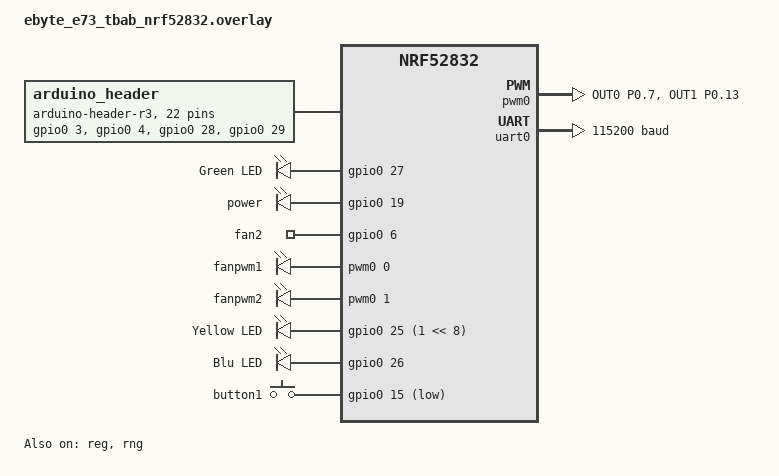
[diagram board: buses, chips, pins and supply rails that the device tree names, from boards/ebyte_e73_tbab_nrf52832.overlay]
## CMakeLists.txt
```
#
# Copyright (c) 2018 Nordic Semiconductor
#
# SPDX-License-Identifier: LicenseRef-Nordic-5-Clause
#
cmake_minimum_required(VERSION 3.20.0)

set(BOOT_SIGNATURE_KEY_FILE
    ${CMAKE_CURRENT_SOURCE_DIR}/fan_private_2048.pem
)

if(DEFINED BOOT_SIGNATURE_KEY_FILE)
    set(mcuboot_CONFIG_BOOT_SIGNATURE_KEY_FILE 
      \"${BOOT_SIGNATURE_KEY_FILE}\"
    )
    set(hci_ipc_CONFIG_SB_SIGNING_KEY_FILE
      \"${BOOT_SIGNATURE_KEY_FILE}\"
    )

    message("Signing Key is applied: ${mcuboot_CONFIG_BOOT_SIGNATURE_KEY_FILE}")
endif()

# if (EXISTS "${CMAKE_CURRENT_SOURCE_DIR}/spm.conf")
#   set(spm_CONF_FILE
#     prj.conf
#     ${CMAKE_CURRENT_LIST_DIR}/spm.conf
#   )
# endif()

# if (EXISTS "${CMAKE_CURRENT_SOURCE_DIR}/mcuboot.conf")
#   set(mcuboot_CONF_FILE
#     prj.conf
#     ${CMAKE_CURRENT_LIST_DIR}/mcuboot.conf
#   )
# endif()

# if (EXISTS "${CMAKE_CURRENT_SOURCE_DIR}/${BOARD}.overlay")
#   set(mcuboot_DTC_OVERLAY_FILE "${CMAKE_CURRENT_SOURCE_DIR}/${BOARD}.overlay")
#   set(spm_DTC_OVERLAY_FILE "${CMAKE_CURRENT_SOURCE_DIR}/${BOARD}.overlay")
# endif()


find_package(Zephyr REQUIRED HINTS $ENV{ZEPHYR_BASE})
project(NONE)


# NORDIC SDK APP START
target_sources(app PRIVATE
  src/main.c
  src/my_fbs.c
)

# NORDIC SDK APP END
zephyr_library_include_directories(.)
```

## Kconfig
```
#
# Copyright (c) 2018 Nordic Semiconductor
#
# SPDX-License-Identifier: LicenseRef-BSD-5-Clause-Nordic
#

# Sources Kconfig.zephyr in the Zephyr root directory.
#
# Note: All 'source' statements work relative to the Zephyr root directory (due
# to the $srctree environment variable being set to $ZEPHYR_BASE). If you want
# to 'source' relative to the current Kconfig file instead, use 'rsource' (or a
# path relative to the Zephyr root).

#source "$ZEPHYR_BASE/Kconfig.zephyr"
source "${ZEPHYR_BASE}/Kconfig.zephyr"

menu "Nordic BLE GATT service sample"

config BT_LBS_SECURITY_ENABLED
	bool "Enable security"
	default y
	select BT_SMP
	select BT_SETTINGS
	select FLASH
	select FLASH_PAGE_LAYOUT
	select FLASH_MAP
	select ZMS if (SOC_FLASH_NRF_RRAM || SOC_FLASH_NRF_MRAM)
	select NVS if !(SOC_FLASH_NRF_RRAM || SOC_FLASH_NRF_MRAM)
	select SETTINGS
	help
	  "Enable BLE security for the LED-Button service"

endmenu
```

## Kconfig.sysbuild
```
#
# Copyright (c) 2023 Nordic Semiconductor
#
# SPDX-License-Identifier: LicenseRef-Nordic-5-Clause
#

config PARTITION_MANAGER
	default n if !BOARD_THINGY53 && !BOARD_IS_NON_SECURE

config NRF_RADIO_LOADER
	default y if SOC_NRF54H20

config NRF_DEFAULT_IPC_RADIO
	default y

config NETCORE_IPC_RADIO_BT_HCI_IPC
	default y

SB_CONFIG_BOOTLOADER_MCUBOOT=y
source "${ZEPHYR_BASE}/share/sysbuild/Kconfig"
```

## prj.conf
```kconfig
#
# Copyright (c) 2018 Nordic Semiconductor
#
# SPDX-License-Identifier: LicenseRef-Nordic-5-Clause
#

# Logger module
CONFIG_LOG=n
CONFIG_PRINTK=n
CONFIG_BOOT_BANNER=n
CONFIG_NCS_BOOT_BANNER=n #to remove banners


#CONFIG_LOG_MODE_IMMEDIATE=y
CONFIG_USE_SEGGER_RTT=n
CONFIG_RTT_CONSOLE=n
CONFIG_UART_CONSOLE=n

CONFIG_LOG_BACKEND_UART=n
CONFIG_LOG_BACKEND_RTT=n
CONFIG_LOG_PRINTK=n
#CONFIG_LOG_DEFAULT_LEVEL=1
CONFIG_STDOUT_CONSOLE=n

CONFIG_EARLY_CONSOLE=n
CONFIG_CONSOLE=n
CONFIG_SERIAL=n

CONFIG_FPU=y

CONFIG_GPIO=y
# Button and LED library
#CONFIG_DK_LIBRARY=y

#DS18b20
CONFIG_SENSOR=y
CONFIG_W1=y
CONFIG_CLOCK_CONTROL=y




#PWM module
CONFIG_PWM=y

# Bluetooth LE
CONFIG_BT=y
# Enable pairing
CONFIG_BT_SMP=y

CONFIG_BT_PERIPHERAL=y
CONFIG_BT_DEVICE_NAME="VENTOLE FRIGO"
CONFIG_BT_CTLR_LOW_LAT=n


CONFIG_BT_SMP_ENFORCE_MITM=y
# use a fixed passkey
CONFIG_BT_FIXED_PASSKEY=y



# Increase stack size for the main thread and System Workqueue
CONFIG_SYSTEM_WORKQUEUE_STACK_SIZE=2048
CONFIG_MAIN_STACK_SIZE=2048

CONFIG_BT_MAX_CONN=1
CONFIG_BT_L2CAP_TX_BUF_COUNT=5
CONFIG_BT_DEVICE_APPEARANCE=962
CONFIG_HEAP_MEM_POOL_SIZE=2048

# for bonding and using flash memory
CONFIG_SETTINGS=y
CONFIG_SETTINGS_RUNTIME=y
CONFIG_HEAP_MEM_POOL_SIZE=256

#CONFIG_BT_SETTINGS=y
#CONFIG_FLASH=y
##CONFIG_FLASH_PAGE_LAYOUT=y
#CONFIG_FLASH_MAP=y
#CONFIG_NVS=y
#CONFIG_SETTINGS_NVS=y
##CONFIG_FCB=y
##CONFIG_SETTINGS_FCB=y

##CONFIG_FILE_SYSTEM=y
##CONFIG_SETTINGS_FILE=y
#CONFIG_MPU_ALLOW_FLASH_WRITE=y


CONFIG_SYS_CLOCK_EXISTS=y
#for POWER MANAGEMENT
#CONFIG_PM=y #alway = n
CONFIG_PM_DEVICE=y
CONFIG_POWEROFF=y
#CONFIG_PM_DEVICE_RUNTIME=n
#CONFIG_PM_DEVICE_SYSTEM_MANAGED=y
#CONFIG_HWINFO=y
#CONFIG_BT_CTLR_ADVANCED_FEATURES=y #always = n
CONFIG_BT_CTLR_TX_PWR_DYNAMIC_CONTROL=y
CONFIG_BT_CTLR_TX_PWR_MINUS_20=y
#derived from power_off example
CONFIG_CRC=y
CONFIG_HWINFO=y

#ONLY WITH external 32.768 xtal its possible to wakeup from poweroff
#CONFIG_GRTC_WAKEUP_ENABLE=y
#CONFIG_RTC=y

#CONFIG_CLOCK_CONTROL_NRF_K32SRC_XTAL=n
#CONFIG_CLOCK_CONTROL_NRF_K32SRC_RC=y
```

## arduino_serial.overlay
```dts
/*
 * Copyright (c) 2022, Thomas Stranger
 *
 * SPDX-License-Identifier: Apache-2.0
 */

/*
 * Example configuration of a DS18B20 device on an Arduino serial bus.
 * Requires external circuit to provide an open-drain interface.
 */

&arduino_serial {
	status = "okay";

	w1_0: w1-zephyr-serial-0 {
		compatible = "zephyr,w1-serial";
		#address-cells = <1>;
		#size-cells = <0>;
		status = "okay";

		ds18b20 {
			compatible = "maxim,ds18b20";
			family-code = <0x28>;
			resolution = <12>;
			status = "okay";
		};
	};
};
```

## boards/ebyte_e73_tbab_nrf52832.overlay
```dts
/*
 * Copyright (c) 2022, Thomas Stranger
 *
 * SPDX-License-Identifier: Apache-2.0
 */

/*
 * Example configuration of a DS18b20 device on an Arduino serial bus, using
 * the zephyr-serial 1-Wire driver.
 * Open drain configuration allows communication by simply connecting the bus
 * line to the UART RX pin as well as the TX pin
 * An external pull-up should be added anyways.
 */




/ {


	arduino_header: connector {
		compatible = "arduino-header-r3";
		#gpio-cells = <2>;
		gpio-map-mask = <0xffffffff 0xffffffc0>;
		gpio-map-pass-thru = <0 0x3f>;
		gpio-map = <0 0 &gpio0 3 0>,	/* A0 */
			   <1 0 &gpio0 4 0>,	/* A1 */
			   <2 0 &gpio0 28 0>,	/* A2 */
			   <3 0 &gpio0 29 0>,	/* A3 */
			   <4 0 &gpio0 30 0>,	/* A4 */
			   <5 0 &gpio0 31 0>,	/* A5 */
			   <6 0 &gpio0 11 0>,	/* D0 */
			   <7 0 &gpio0 12 0>,	/* D1 */
			   <8 0 &gpio0 13 0>,	/* D2 */
			   <9 0 &gpio0 14 0>,	/* D3 */
			   <10 0 &gpio0 15 0>,	/* D4 */
			   <11 0 &gpio0 16 0>,	/* D5 */
			   <12 0 &gpio0 17 0>,	/* D6 */
			   <13 0 &gpio0 18 0>,	/* D7 */
			   <14 0 &gpio0 19 0>,	/* D8 */
			   <15 0 &gpio0 20 0>,	/* D9 */
			   <16 0 &gpio0 22 0>,	/* D10 */
			   <17 0 &gpio0 23 0>,	/* D11 */
			   <18 0 &gpio0 24 0>,	/* D12 */
			   <19 0 &gpio0 25 0>,	/* D13 */
			   <20 0 &gpio0 26 0>,	/* D14 */
			   <21 0 &gpio0 27 0>;	/* D15 */
	};

	leds {
		led2: led2 {
			gpios = <&gpio0 27 0>;
			label = "Green LED";
		};
		poweron: poweron_0 {
			gpios = <&gpio0 19 (GPIO_PUSH_PULL | GPIO_ACTIVE_HIGH)>;
			label = "power";
		};
		fan2: fan2_0 {
			gpios = <&gpio0 6 (GPIO_PUSH_PULL | GPIO_ACTIVE_HIGH)>;
			label = "fan2";
		};
	};

	pwmleds {
		compatible = "pwm-leds";
		fanpwm1: fanpwm_1 {
			pwms = <&pwm0 0 PWM_USEC(50) PWM_POLARITY_NORMAL>;
		};
		fanpwm2: fanpwm_2 {
			pwms = <&pwm0 1 PWM_USEC(50) PWM_POLARITY_NORMAL>;
		};
	};


	aliases {
		led0 = &led0;
		led1 = &led1;
		sw0 = &button0;
		sw1 = &button1;
		bootloader-led0 = &led0;
		watchdog0 = &wdt0;
		fan2 = &fan2;
		poweron = &poweron;
	};

};

&uart0_sleep {
	group1 {
		low-power-enable;
	};
};

&led0 {
	gpios = <&gpio0 25 (1 << 8)>;
	label = "Yellow LED";
};

&led1 {
	gpios = <&gpio0 26 0>;
	label = "Blu LED";
};

&fan2 {
 	gpios = <&gpio0 6  (GPIO_ACTIVE_HIGH)>;
};


&pinctrl {
	pwm0_default_custom: pwm0_default_custom {
			group1 {
			psels = <NRF_PSEL(PWM_OUT0,0,7)>,
					<NRF_PSEL(PWM_OUT1,0,13)>;
			nordic,invert;
		};

	};
	pwm0_sleep_custom: pwm0_sleep_custom {
			group1 {
			psels = <NRF_PSEL(PWM_OUT0,0,7)>,
					<NRF_PSEL(PWM_OUT1,0,13)>;
			low-power-enable;
		};

	};
};

&pwm0 {
	status = "okay";
	pinctrl-0 = <&pwm0_default_custom>;
	pinctrl-1 = <&pwm0_sleep_custom>;
	pinctrl-names = "default","sleep";
};

arduino_serial: &uart0 {
	current-speed = <115200>;
	pinctrl-0 = <&uart0_default>;
	pinctrl-1 = <&uart0_sleep>;
	pinctrl-names = "default", "sleep";
};

&poweron {
	gpios = <&gpio0 19 (GPIO_ACTIVE_HIGH )>;
};

&pwm0_default {
	group2 {
		psels = <NRF_PSEL(PWM_OUT0, 0, 5)>;
		nordic,invert;
	};

	group1 {
		psels = <NRF_PSEL(PWM_OUT1, 0, 1)>;
	};
};

&uart0_default {
	group1 {
		psels = <NRF_PSEL(UART_TX, 0, 16)>, <NRF_PSEL(UART_RX, 0, 17)>;
	};
};

&uart0_sleep {
	group1 {
		psels = <NRF_PSEL(UART_TX, 0, 16)>, <NRF_PSEL(UART_RX, 0, 17)>;
	};
};


&radio {
    status = "disabled";
};

&button1 {
	gpios = <&gpio0 15 (GPIO_ACTIVE_LOW | GPIO_PULL_DOWN)>;
};

&adc {
	status = "disabled";
};

&spi0 {
    status = "disabled";
};
&spi1 {
    status = "disabled";
};
&spi2 {
    status = "disabled";
};
&i2c0 {
    status = "disabled";
};
&i2c1 {
    status = "disabled";
};
&i2s0 {
    status = "disabled";
};

&reg {
        regulator-initial-mode = <NRF5X_REG_MODE_DCDC>;
	status = "okay";
};

&clock {
	status = "okay";
};

&ccm {
	status = "disabled";
};

&ecb {
	status = "disabled";
};

&rng {
	status = "okay";
};

#include "serial_overlay.dtsi"
&ccm {
	status = "disabled";
};

&mwu {
	status = "disabled";
};

&temp {
	status = "disabled";
};

&uicr {
	status = "disabled";
};


&flash0 {
/delete-node/ partitions;
	partitions {
		compatible = "fixed-partitions";
		#address-cells = <1>;
		#size-cells = <1>;

		boot_partition: partition@0 {
			label = "mcuboot";
			reg = <0x00000000 0xc000>;
		};

// /delete-node/ partition@c000;
// /delete-node/ partition@3e000;
// /delete-node/ partition@70000;
		slot0_partition: partition@c000 {
			label = "image-0";
			reg = <0x0000c000 0x37000>;
		};

		slot1_partition: partition@43000 {
			label = "image-1";
			reg = <0x00043000 0x37000>;
		};

		storage_partition: partition@7a000 {
			label = "storage";
			reg = <0x0007a000 0x00006000>;
		};

	};
};
```

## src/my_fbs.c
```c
/*
 * Copyright (c) 2018 Nordic Semiconductor ASA
 *
 * SPDX-License-Identifier: LicenseRef-Nordic-5-Clause
 */

/** @file
 *  @brief LED Button Service (LBS) sample
 */

#include <zephyr/types.h>
#include <stddef.h>
#include <string.h>
#include <errno.h>
#include <zephyr/sys/printk.h>
#include <zephyr/sys/byteorder.h>
#include <zephyr/kernel.h>
#include <zephyr/logging/log.h>
#include <zephyr/bluetooth/bluetooth.h>
#include <zephyr/bluetooth/hci.h>
#include <zephyr/bluetooth/conn.h>
#include <zephyr/bluetooth/uuid.h>
#include <zephyr/bluetooth/gatt.h>

#include "my_fbs.h"

LOG_MODULE_DECLARE(Fan_Frigo_Camper, 1);

static bool notify_temperature_enabled;
static bool notify_dutycycle_enabled;

static int32_t temperature_value;
static int32_t dutyCycle_value;
static int32_t threshold_value;
static uint8_t fan2_state;
static bool power_state;
static bool leds_state;
static uint32_t pswVal;


static struct my_fbs_cb fbs_cb;


/*  Define the configuration change callback function for the TEMPERATURE characteristic */
static void myfbsbc_ccc_temperature_cfg_changed(const struct bt_gatt_attr *attr, uint16_t value)
{
	notify_temperature_enabled = (value == BT_GATT_CCC_NOTIFY);
}
/* Define the configuration change callback function for the DUTYCYCLE characteristic */
static void myfbsbc_ccc_dutycycle_cfg_changed(const struct bt_gatt_attr *attr, uint16_t value)
{
	notify_dutycycle_enabled = (value == BT_GATT_CCC_NOTIFY);
}


static ssize_t readTemperature(struct bt_conn *conn, const struct bt_gatt_attr *attr, void *buf,
			   uint16_t len, uint16_t offset)
{
	// get a pointer to temperature_value which is passed in the BT_GATT_CHARACTERISTIC() and stored in attr->user_data
	const int32_t *value = attr->user_data;

	LOG_DBG("Attribute read, handle: %u, conn: %p\n", attr->handle, (void *)conn);

	if (fbs_cb.temperature_cb) {
		// Call the application callback function to update the get the current value of the threshold
		temperature_value = fbs_cb.temperature_cb();
		return bt_gatt_attr_read(conn, attr, buf, len, offset, value, sizeof(*value));
	}

	return 0;
}


static ssize_t setDutyCycle(struct bt_conn *conn, const struct bt_gatt_attr *attr, const void *buf,
			 uint16_t len, uint16_t offset, uint8_t flags)
{
	LOG_DBG("Attribute write, handle: %u, conn: %p\n", attr->handle, (void *)conn);

	if (len != 4U) {
		LOG_DBG("setDutyCycle: Incorrect data length\n");
		return BT_GATT_ERR(BT_ATT_ERR_INVALID_ATTRIBUTE_LEN);
	}

	if (offset != 0) {
		LOG_DBG("setDutyCycle: Incorrect data offset\n");
		return BT_GATT_ERR(BT_ATT_ERR_INVALID_OFFSET);
	}

	if (fbs_cb.setDuty_cb) {
		// Read the received value
		uint32_t val = *((uint32_t *)buf);
		fbs_cb.setDuty_cb(val);
	}

	return len;
}
static ssize_t getDutyCycle(struct bt_conn *conn, const struct bt_gatt_attr *attr, void *buf,
			   uint16_t len, uint16_t offset)
{
	// get a pointer to button_state which is passed in the BT_GATT_CHARACTERISTIC() and stored in attr->user_data
	const int32_t *value = attr->user_data;

	LOG_DBG("Attribute read, handle: %u, conn: %p\n", attr->handle, (void *)conn);

	if (fbs_cb.getDuty_cb) {
		// Call the application callback function to update the get the current value of the button
		dutyCycle_value = fbs_cb.getDuty_cb();
		return bt_gatt_attr_read(conn, attr, buf, len, offset, value, sizeof(*value));
	}

	return 0;
}

static ssize_t setThreshold(struct bt_conn *conn, const struct bt_gatt_attr *attr, const void *buf,
			 uint16_t len, uint16_t offset, uint8_t flags)
{
	LOG_DBG("Attribute write, handle: %u, conn: %p\n", attr->handle, (void *)conn);

	if (len != 4U) {
		LOG_DBG("setTemperature: Incorrect data length\n");
		return BT_GATT_ERR(BT_ATT_ERR_INVALID_ATTRIBUTE_LEN);
	}

	if (offset != 0) {
		LOG_DBG("setTemperature: Incorrect data offset\n");
		return BT_GATT_ERR(BT_ATT_ERR_INVALID_OFFSET);
	}

	if (fbs_cb.setThreshold_cb) {
		// Read the received value
		uint32_t val = *((uint32_t *)buf);
		fbs_cb.setThreshold_cb(val);
	}

	return len;
}

static ssize_t readThreshold(struct bt_conn *conn, const struct bt_gatt_attr *attr, void *buf,
			   uint16_t len, uint16_t offset)
{
	// get a pointer to threshold_value which is passed in the BT_GATT_CHARACTERISTIC() and stored in attr->user_data
	const int32_t *value = attr->user_data;

	LOG_DBG("Attribute read, handle: %u, conn: %p\n", attr->handle, (void *)conn);

	if (fbs_cb.getThreshold_cb) {
		// Call the application callback function to update the get the current value of the threshold
		threshold_value = fbs_cb.getThreshold_cb();
		return bt_gatt_attr_read(conn, attr, buf, len, offset, value, sizeof(*value));
	}

	return 0;
}


static ssize_t setFan2(struct bt_conn *conn, const struct bt_gatt_attr *attr, const void *buf,
			 uint16_t len, uint16_t offset, uint8_t flags)
{
	LOG_DBG("Attribute write, handle: %u, conn: %p\n", attr->handle, (void *)conn);

	if (len != 1U) {
		LOG_DBG("setFan2: Incorrect data length\n");
		return BT_GATT_ERR(BT_ATT_ERR_INVALID_ATTRIBUTE_LEN);
	}

	if (offset != 0) {
		LOG_DBG("setFan2: Incorrect data offset\n");
		return BT_GATT_ERR(BT_ATT_ERR_INVALID_OFFSET);
	}

	if (fbs_cb.setFan2_cb) {
		// Read the received value
		uint8_t val = *((uint8_t *)buf);

		if (val == 0x00 || val == 0x01 || val == 0x80 || val == 0x81) {
			// Call the application callback function to update the LED state
			fbs_cb.setFan2_cb(val);
		} else {
			LOG_DBG("Write Fan2: Incorrect value");
			return BT_GATT_ERR(BT_ATT_ERR_VALUE_NOT_ALLOWED);
		}
	}

	return len;
}


static ssize_t readFan2(struct bt_conn *conn, const struct bt_gatt_attr *attr, void *buf,
			   uint16_t len, uint16_t offset)
{
	// get a pointer to button_state which is passed in the BT_GATT_CHARACTERISTIC() and stored in attr->user_data
	const uint8_t *value = attr->user_data;

	LOG_DBG("Attribute read, handle: %u, conn: %p\n", attr->handle, (void *)conn);

	if (fbs_cb.getFan2_cb) {
		// Call the application callback function to update the get the current value of the button
		fan2_state = fbs_cb.getFan2_cb();
		return bt_gatt_attr_read(conn, attr, buf, len, offset, value, sizeof(*value));
	}

	return 0;
}


static ssize_t setPower(struct bt_conn *conn, const struct bt_gatt_attr *attr, const void *buf,
			 uint16_t len, uint16_t offset, uint8_t flags)
{
	LOG_DBG("Attribute write, handle: %u, conn: %p\n", attr->handle, (void *)conn);

	if (len != 1U) {
		LOG_DBG("setPower: Incorrect data length\n");
		return BT_GATT_ERR(BT_ATT_ERR_INVALID_ATTRIBUTE_LEN);
	}

	if (offset != 0) {
		LOG_DBG("setPower: Incorrect data offset\n");
		return BT_GATT_ERR(BT_ATT_ERR_INVALID_OFFSET);
	}

	if (fbs_cb.setPowerOn_cb) {
		// Read the received value
		uint8_t val = *((uint8_t *)buf);

		if (val == 0x00 || val == 0x01) {
			// Call the application callback function to update the LED state
			fbs_cb.setPowerOn_cb(val);
		} else {
			LOG_DBG("Write PowerOn: Incorrect value");
			return BT_GATT_ERR(BT_ATT_ERR_VALUE_NOT_ALLOWED);
		}
	}

	return len;
}

static ssize_t readPower(struct bt_conn *conn, const struct bt_gatt_attr *attr, void *buf,
			   uint16_t len, uint16_t offset)
{
	// get a pointer to button_state which is passed in the BT_GATT_CHARACTERISTIC() and stored in attr->user_data
	const char *value = attr->user_data;

	LOG_DBG("Attribute read, handle: %u, conn: %p\n", attr->handle, (void *)conn);

	if (fbs_cb.getPowerOn_cb) {
		// Call the application callback function to update the get the current value of the button
		power_state = fbs_cb.getPowerOn_cb();
		return bt_gatt_attr_read(conn, attr, buf, len, offset, value, sizeof(*value));
	}

	return 0;
}


static ssize_t setLeds(struct bt_conn *conn, const struct bt_gatt_attr *attr, const void *buf,
			 uint16_t len, uint16_t offset, uint8_t flags)
{
	LOG_DBG("Attribute write, handle: %u, conn: %p\n", attr->handle, (void *)conn);

	if (len != 1U) {
		LOG_DBG("setLeds: Incorrect data length\n");
		return BT_GATT_ERR(BT_ATT_ERR_INVALID_ATTRIBUTE_LEN);
	}

	if (offset != 0) {
		LOG_DBG("setLeds: Incorrect data offset\n");
		return BT_GATT_ERR(BT_ATT_ERR_INVALID_OFFSET);
	}

	if (fbs_cb.setLedsOn_cb) {
		// Read the received value
		uint8_t val = *((uint8_t *)buf);

		if (val == 0x00 || val == 0x01) {
			// Call the application callback function to update the LED state
			fbs_cb.setLedsOn_cb(val);
		} else {
			LOG_DBG("Write LedsOn: Incorrect value");
			return BT_GATT_ERR(BT_ATT_ERR_VALUE_NOT_ALLOWED);
		}
	}

	return len;
}

static ssize_t readLeds(struct bt_conn *conn, const struct bt_gatt_attr *attr, void *buf,
			   uint16_t len, uint16_t offset)
{
	// get a pointer to button_state which is passed in the BT_GATT_CHARACTERISTIC() and stored in attr->user_data
	const char *value = attr->user_data;

	LOG_DBG("Attribute read, handle: %u, conn: %p\n", attr->handle, (void *)conn);

	if (fbs_cb.getLedsOn_cb) {
		// Call the application callback function to update the get the current value of the button
		leds_state = fbs_cb.getLedsOn_cb();
		return bt_gatt_attr_read(conn, attr, buf, len, offset, value, sizeof(*value));
	}

	return 0;
}



static ssize_t setPsw(struct bt_conn *conn, const struct bt_gatt_attr *attr, const void *buf,
			 uint16_t len, uint16_t offset, uint8_t flags)
{
	LOG_DBG("Attribute write, handle: %u, conn: %p\n", attr->handle, (void *)conn);

	if (len != 4U) {
		LOG_DBG("setPsw: Incorrect data length\n");
		return BT_GATT_ERR(BT_ATT_ERR_INVALID_ATTRIBUTE_LEN);
	}

	if (offset != 0) {
		LOG_DBG("setPsw: Incorrect data offset\n");
		return BT_GATT_ERR(BT_ATT_ERR_INVALID_OFFSET);
	}

	if (fbs_cb.setPsw_cb) {
		// Read the received value
		uint32_t val = *((uint32_t *)buf);
		fbs_cb.setPsw_cb(val);
	}

	return len;
}

/* LED Button Service Declaration */
BT_GATT_SERVICE_DEFINE(
	my_fbs_svc, BT_GATT_PRIMARY_SERVICE(BT_UUID_FBS), //attr[0]

	// /* Create and add the TEMPERATURE characteristic and its CCCD  */ 
	// BT_GATT_CHARACTERISTIC(BT_UUID_FBS_TEMPERATURE, BT_GATT_CHRC_NOTIFY | BT_GATT_CHRC_READ, BT_GATT_PERM_READ_AUTHEN, NULL, NULL, NULL), // 2 attr[6], att[7] (uuid,r,w,userdata)
    // BT_GATT_CUD("Temperature",BT_GATT_PERM_READ_AUTHEN | BT_GATT_PERM_WRITE_AUTHEN), // attr[8]
	// BT_GATT_CCC(myfbsbc_ccc_temperature_cfg_changed, BT_GATT_PERM_READ | BT_GATT_PERM_WRITE), // attr[9]
	
	// /* Create and add the DUTYCYCLE characteristic and its CCCD  */
	// BT_GATT_CHARACTERISTIC(BT_UUID_FBS_DUTYCYCLE, BT_GATT_CHRC_WRITE | BT_GATT_CHRC_READ | BT_GATT_CHRC_NOTIFY, 
	// 		BT_GATT_PERM_WRITE_AUTHEN | BT_GATT_PERM_READ_AUTHEN, getDutyCycle, setDutyCycle, &dutyCycle_value),// attr[10], attr[11]
    // BT_GATT_CUD("DutyCycle",BT_GATT_PERM_READ_AUTHEN | BT_GATT_PERM_WRITE_AUTHEN),
	// BT_GATT_CCC(myfbsbc_ccc_dutycycle_cfg_changed, BT_GATT_PERM_READ | BT_GATT_PERM_WRITE),

	// 	/* Create and add the Threshold characteristic and its CCCD  */
	// BT_GATT_CHARACTERISTIC(BT_UUID_FBS_TEMP_THR, BT_GATT_CHRC_WRITE | BT_GATT_CHRC_READ, 
	// 		BT_GATT_PERM_WRITE_AUTHEN | BT_GATT_PERM_READ_AUTHEN, readThreshold, setThreshold, &threshold_value),
    // BT_GATT_CUD("Threshold",BT_GATT_PERM_READ_AUTHEN | BT_GATT_PERM_WRITE_AUTHEN),
	
	// /* Create and add the fan2 characteristic and its CCCD  */
	// BT_GATT_CHARACTERISTIC(BT_UUID_FBS_ENABLE_FAN2, BT_GATT_CHRC_WRITE | BT_GATT_CHRC_READ, 
	// 		BT_GATT_PERM_WRITE_AUTHEN | BT_GATT_PERM_READ_AUTHEN, readFan2, setFan2, &fan2_state),
    // BT_GATT_CUD("Fan2 state",BT_GATT_PERM_READ_AUTHEN | BT_GATT_PERM_WRITE_AUTHEN),

	// /* Create and add the poweron characteristic and its CCCD  */
	// BT_GATT_CHARACTERISTIC(BT_UUID_FBS_POWER_ON, BT_GATT_CHRC_WRITE | BT_GATT_CHRC_READ, 
	// 		BT_GATT_PERM_WRITE_AUTHEN | BT_GATT_PERM_READ_AUTHEN, readPower, setPower, &power_state),
    // BT_GATT_CUD("Power state",BT_GATT_PERM_READ_AUTHEN | BT_GATT_PERM_WRITE_AUTHEN),
	
	/* Create and add the TEMPERATURE characteristic and its CCCD  */ 
	BT_GATT_CHARACTERISTIC(BT_UUID_FBS_TEMPERATURE, BT_GATT_CHRC_NOTIFY | BT_GATT_CHRC_READ, 
			BT_GATT_PERM_READ_AUTHEN , readTemperature, NULL, &temperature_value), // 2 attr[1], att[2] (uuid,r,w,userdata)
	BT_GATT_CUD("Temperature",BT_GATT_PERM_READ_AUTHEN ), // attr[3]
	BT_GATT_CCC(myfbsbc_ccc_temperature_cfg_changed, BT_GATT_PERM_READ | BT_GATT_PERM_WRITE),// attr[4]
	
	/* Create and add the DUTYCYCLE characteristic and its CCCD  */
	BT_GATT_CHARACTERISTIC(BT_UUID_FBS_DUTYCYCLE, BT_GATT_CHRC_WRITE | BT_GATT_CHRC_READ | BT_GATT_CHRC_NOTIFY, 
			BT_GATT_PERM_WRITE_AUTHEN  | BT_GATT_PERM_READ_AUTHEN , getDutyCycle, setDutyCycle, &dutyCycle_value),// attr[5], attr[6]
    BT_GATT_CUD("DutyCycle",BT_GATT_PERM_READ_AUTHEN ), // attr[7]
	BT_GATT_CCC(myfbsbc_ccc_dutycycle_cfg_changed, BT_GATT_PERM_READ | BT_GATT_PERM_WRITE),// attr[8]

		/* Create and add the Threshold characteristic and its CCCD  */
	BT_GATT_CHARACTERISTIC(BT_UUID_FBS_TEMP_THR, BT_GATT_CHRC_WRITE | BT_GATT_CHRC_READ, 
			BT_GATT_PERM_WRITE_AUTHEN  | BT_GATT_PERM_READ_AUTHEN , readThreshold, setThreshold, &threshold_value),// attr[9], attr[10]
    BT_GATT_CUD("Threshold",BT_GATT_PERM_READ_AUTHEN ),// attr[11]
	
	/* Create and add the fan2 characteristic and its CCCD  */
	BT_GATT_CHARACTERISTIC(BT_UUID_FBS_ENABLE_FAN2, BT_GATT_CHRC_WRITE | BT_GATT_CHRC_READ, 
			BT_GATT_PERM_WRITE_AUTHEN  | BT_GATT_PERM_READ_AUTHEN , readFan2, setFan2, &fan2_state),// attr[12], attr[12]
    BT_GATT_CUD("Fan2 state",BT_GATT_PERM_READ_AUTHEN ),// attr[13]

	/* Create and add the poweron characteristic and its CCCD  */
	BT_GATT_CHARACTERISTIC(BT_UUID_FBS_POWER_ON, BT_GATT_CHRC_WRITE | BT_GATT_CHRC_READ, 
			BT_GATT_PERM_WRITE_AUTHEN  | BT_GATT_PERM_READ_AUTHEN , readPower, setPower, &power_state),// attr[14], attr[15]
    BT_GATT_CUD("Power state",BT_GATT_PERM_READ_AUTHEN ),// attr[16]

		/* Create and add the poweron characteristic and its CCCD  */
	BT_GATT_CHARACTERISTIC(BT_UUID_FBS_LEDS_ON, BT_GATT_CHRC_WRITE | BT_GATT_CHRC_READ, 
			BT_GATT_PERM_WRITE_AUTHEN  | BT_GATT_PERM_READ_AUTHEN , readLeds, setLeds, &leds_state),// attr[17], attr[18]
    BT_GATT_CUD("LEDs state",BT_GATT_PERM_READ_AUTHEN ),// attr[19]

			/* Create and add the poweron characteristic and its CCCD  */
	BT_GATT_CHARACTERISTIC(BT_UUID_FBS_PSW_SET, BT_GATT_CHRC_WRITE, 
			BT_GATT_PERM_WRITE_AUTHEN , NULL, setPsw, &pswVal),// attr[20], attr[21]
    BT_GATT_CUD("Internal data state",BT_GATT_PERM_READ_AUTHEN ),// attr[22]
);

/* A function to register application callbacks for the LED and Button characteristics  */
int my_fbs_init(struct my_fbs_cb *callbacks)
{
	if (callbacks) {
		fbs_cb.getDuty_cb = callbacks->getDuty_cb;
		fbs_cb.getFan2_cb = callbacks->getFan2_cb;
		fbs_cb.getPowerOn_cb = callbacks->getPowerOn_cb;
		fbs_cb.getThreshold_cb = callbacks->getThreshold_cb;
		fbs_cb.setDuty_cb = callbacks->setDuty_cb;
		fbs_cb.setFan2_cb = callbacks->setFan2_cb;
		fbs_cb.setPowerOn_cb = callbacks->setPowerOn_cb;
		fbs_cb.setThreshold_cb = callbacks->setThreshold_cb;
		fbs_cb.temperature_cb = callbacks->temperature_cb;

		fbs_cb.getLedsOn_cb = callbacks->getLedsOn_cb;
		fbs_cb.setLedsOn_cb = callbacks->setLedsOn_cb;
		fbs_cb.setPsw_cb = callbacks->setPsw_cb;
	}

	return 0;
}

/* Define the function to send notifications for the TEMPERATURE characteristic */
int my_fbs_send_temperature_notify(uint32_t temperature_valueArg)
{
	if (!notify_temperature_enabled) {
		return -EACCES;
	}

	return bt_gatt_notify(NULL, &my_fbs_svc.attrs[2], &temperature_valueArg, sizeof(temperature_valueArg));
}

/* Define the function to send notifications for the TEMPERATURE characteristic */
int my_fbs_send_dutycycle_notify(uint32_t dutycycle_valueArg)
{
	if (!notify_dutycycle_enabled) {
		return -EACCES;
	}

	return bt_gatt_notify(NULL, &my_fbs_svc.attrs[6], &dutycycle_valueArg, sizeof(dutycycle_valueArg));
}
```

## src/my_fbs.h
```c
/*
 * Copyright (c) 2018 Nordic Semiconductor ASA
 *
 * SPDX-License-Identifier: LicenseRef-Nordic-5-Clause
 */

#ifndef BT_LBS_H_
#define BT_LBS_H_

/**@file
 * @defgroup bt_lbs LED Button Service API
 * @{
 * @brief API for the LED Button Service (LBS).
 */

#ifdef __cplusplus
extern "C" {
#endif

#include <zephyr/types.h>
#undef __CDT_PARSER__
#undef __JETBRAINS_IDE__
/** @brief FBS Service UUID. */

#define BT_UUID_FBS_VAL BT_UUID_128_ENCODE(0x9b046cc7, 0xdec2, 0x438f, 0xbde5, 0xb093f4b5511c)

/* Assign a UUID to the TEMPERATURE characteristic */
/** @brief TEMPERATURE Characteristic UUID. */
#define BT_UUID_FBS_TEMPERATURE_VAL                                                                   \
	BT_UUID_128_ENCODE(0x9b046cc8, 0xdec2, 0x438f, 0xbde5, 0xb093f4b5511c)

/* Assign a UUID to the DUTYCYCLE characteristic */
/** @brief DUTYCYCLE Characteristic UUID. */
#define BT_UUID_FBS_DUTYCYCLE_VAL                                                                   \
	BT_UUID_128_ENCODE(0x9b046cc9, 0xdec2, 0x438f, 0xbde5, 0xb093f4b5511c)

/** @brief EnableFan2 Characteristic UUID. */
#define BT_UUID_FBS_ENABLE_FAN2_VAL                                                                   \
	BT_UUID_128_ENCODE(0x9b046cca, 0xdec2, 0x438f, 0xbde5, 0xb093f4b5511c)

/** @brief Set Temperature Threshold Characteristic UUID. */
#define BT_UUID_FBS_TEMP_THRESHOLD_VAL                                                                   \
	BT_UUID_128_ENCODE(0x9b046ccb, 0xdec2, 0x438f, 0xbde5, 0xb093f4b5511c)

/** @brief Set PowerOn Characteristic UUID. */
#define BT_UUID_FBS_POWER_ON_VAL                                                                   \
	BT_UUID_128_ENCODE(0x9b046ccc, 0xdec2, 0x438f, 0xbde5, 0xb093f4b5511c)

#define BT_UUID_FBS_LEDS_ON_VAL                                                                   \
	BT_UUID_128_ENCODE(0x9b046ccd, 0xdec2, 0x438f, 0xbde5, 0xb093f4b5511c)

#define BT_UUID_FBS_PSW_SET_VAL                                                                   \
	BT_UUID_128_ENCODE(0x9b046cce, 0xdec2, 0x438f, 0xbde5, 0xb093f4b5511c)

#define BT_UUID_FBS BT_UUID_DECLARE_128(BT_UUID_FBS_VAL)
/* Convert the array to a generic UUID */
#define BT_UUID_FBS_TEMPERATURE BT_UUID_DECLARE_128(BT_UUID_FBS_TEMPERATURE_VAL)
#define BT_UUID_FBS_DUTYCYCLE BT_UUID_DECLARE_128(BT_UUID_FBS_DUTYCYCLE_VAL)
#define BT_UUID_FBS_ENABLE_FAN2 BT_UUID_DECLARE_128(BT_UUID_FBS_ENABLE_FAN2_VAL)
#define BT_UUID_FBS_TEMP_THR BT_UUID_DECLARE_128(BT_UUID_FBS_TEMP_THRESHOLD_VAL)
#define BT_UUID_FBS_POWER_ON BT_UUID_DECLARE_128(BT_UUID_FBS_POWER_ON_VAL)
#define BT_UUID_FBS_LEDS_ON BT_UUID_DECLARE_128(BT_UUID_FBS_LEDS_ON_VAL)
#define BT_UUID_FBS_PSW_SET BT_UUID_DECLARE_128(BT_UUID_FBS_PSW_SET_VAL)
/** @brief Callback type for when an TEMPERATURE read request is received. */
typedef int32_t (*get_Temperature_cb_t)(void);

/** @brief Callback type for when an DUTYCYCLE read request is received. */
typedef uint32_t (*get_DutyCycle_cb_t)(void);

/** @brief Callback type for when an DUTYCYCLE state change is received. */
typedef void (*set_DutyCycle_cb_t)(const uint32_t dutycycle_value);

/** @brief Callback type for when an FAN2 read request is received. */
typedef uint8_t (*get_Fan2_cb_t)(void);

/** @brief Callback type for when an FAN2 state change is received. */
typedef void (*set_Fan2_cb_t)(const uint8_t fan2_state);

/** @brief Callback type for when an TEMPERATURE CHANGE state change is received. */
typedef uint32_t (*get_threshold_cb_t)(void);

/** @brief Callback type for when an TEMPERATURE CHANGE state change is received. */
typedef void (*set_threshold_cb_t)(const uint32_t threshold_value);

/** @brief Callback type for when an POWERON state change is received. */
typedef bool (*get_poweron_cb_t)(void);

/** @brief Callback type for when an POWERON state change is received. */
typedef void (*set_poweron_cb_t)(const bool power_state);

/** @brief Callback type for when an LEDSON state change is received. */
typedef bool (*get_ledson_cb_t)(void);

/** @brief Callback type for when an LEDSON state change is received. */
typedef void (*set_ledson_cb_t)(const bool leds_state);

/** @brief Callback type for when an PSW state change is received. */
typedef void (*set_psw_cb_t)(const uint32_t psw_val);
/** @brief Callback struct used by the LBS Service. */
struct my_fbs_cb {
	get_Temperature_cb_t temperature_cb; 
	get_DutyCycle_cb_t getDuty_cb;
	set_DutyCycle_cb_t setDuty_cb;
	get_Fan2_cb_t getFan2_cb;
	set_Fan2_cb_t setFan2_cb;
	get_threshold_cb_t getThreshold_cb;
	set_threshold_cb_t setThreshold_cb;
	get_poweron_cb_t getPowerOn_cb;
	set_poweron_cb_t setPowerOn_cb;
	get_ledson_cb_t getLedsOn_cb;
	set_ledson_cb_t setLedsOn_cb;
	set_psw_cb_t setPsw_cb;
};

/** @brief Initialize the LBS Service.
 *
 * This function registers application callback functions with the My LBS
 * Service
 *
 * @param[in] callbacks Struct containing pointers to callback functions
 *			used by the service. This pointer can be NULL
 *			if no callback functions are defined.
 *
 *
 * @retval 0 If the operation was successful.
 *           Otherwise, a (negative) error code is returned.
 */
int my_fbs_init(struct my_fbs_cb *callbacks);


/** @brief Send the sensor value as notification.
 *
 * This function sends an uint32_t  value, typically the value
 * of a simulated sensor to all connected peers.
 *
 * @param[in] temperature_value The value of the simulated sensor.
 *
 * @retval 0 If the operation was successful.
 *           Otherwise, a (negative) error code is returned.
 */
int my_fbs_send_temperature_notify(uint32_t temperature_value);

/** @brief Send the sensor value as notification.
 *
 * This function sends an uint32_t  value, typically the value
 * of a simulated sensor to all connected peers.
 *
 * @param[in] dutycycle_value The value of the simulated sensor.
 *
 * @retval 0 If the operation was successful.
 *           Otherwise, a (negative) error code is returned.
 */
int my_fbs_send_dutycycle_notify(uint32_t dutycycle_value);

#ifdef __cplusplus
}
#endif

/**
 * @}
 */

#endif /* BT_LBS_H_ */
```
